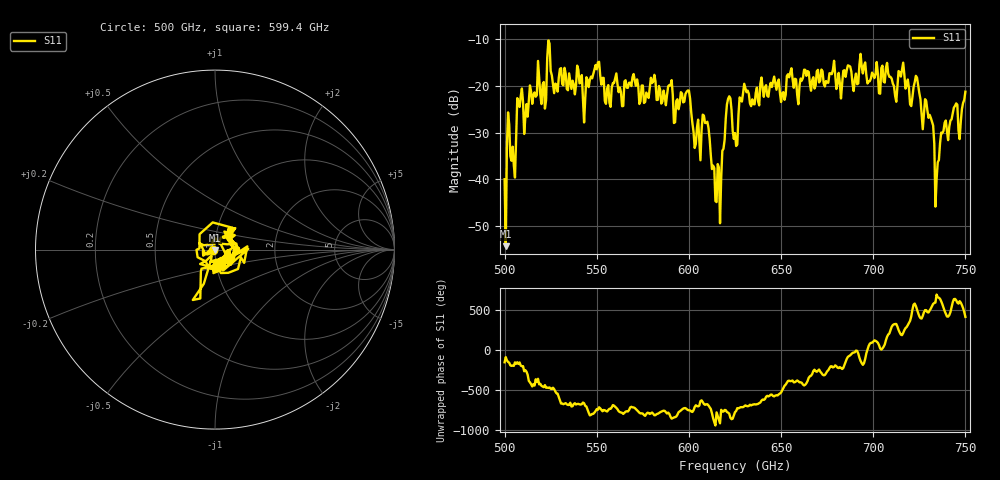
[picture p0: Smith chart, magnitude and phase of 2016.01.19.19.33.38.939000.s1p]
!Created with skrf (http://scikit-rf.org).
# GHz S RI R 50.0
!freq ReS11 ImS11
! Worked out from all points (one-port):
!   401 points, 500 GHz to 750 GHz, reference 50 ohm
!   lowest |S11| = -54.3 dB at 500.6 GHz (marker M1), VSWR 1.00, Z = 50 - j0.192 ohm
!   |S11| at or under -10 dB: start of sweep to end of sweep
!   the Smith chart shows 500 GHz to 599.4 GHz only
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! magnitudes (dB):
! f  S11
! 500 GHz  -40.0
! 500.6 GHz  -54.3
! 502.5 GHz  -28.3
! 505 GHz  -37.0
! 508.1 GHz  -24.5
! 521.2 GHz  -19.2
! 524.4 GHz  -10.9
! 527.5 GHz  -19.5
! 531.2 GHz  -19.6
! 543.8 GHz  -22.6
! 550 GHz  -16.4
! 562.5 GHz  -20.3
! 580.6 GHz  -19.1
! 593.8 GHz  -22.9
! 599.4 GHz  -21.0
! 605 GHz  -27.2
! 608.8 GHz  -27.9
! 615.6 GHz  -36.7
! 621.2 GHz  -22.8
! 625 GHz  -30.1
! 630.6 GHz  -20.5
! 656.2 GHz  -18.6
! 687.5 GHz  -15.9
! 718.8 GHz  -18.6
! 729.4 GHz  -25.3
! 734.4 GHz  -39.9
! 738.1 GHz  -29.6
! 750 GHz  -21.2
